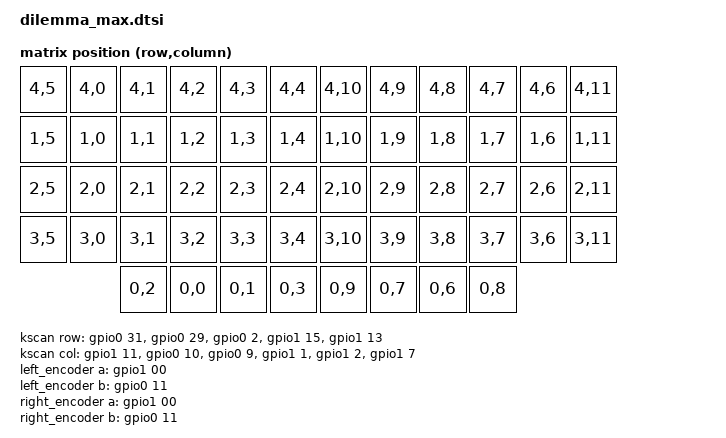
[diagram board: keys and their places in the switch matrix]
// Dilemma Max - Custom PCB for nice!nano v2
// 5 rows x 6 columns per side, row2col diodes
// Encoder on thumb row (row 4, col 3)

#include <dt-bindings/zmk/matrix_transform.h>
#include <dt-bindings/led/led.h>
#include <dt-bindings/pinctrl/nrf-pinctrl.h>

#include "dilemma_max-layouts.dtsi"

/ {
    chosen {
        zmk,physical-layout = &default_layout;
        zmk,underglow = &led_strip;
    };

    kscan: kscan {
        compatible = "zmk,kscan-gpio-matrix";
        diode-direction = "row2col";
        wakeup-source;

        row-gpios
            = <&gpio0 31 GPIO_ACTIVE_HIGH>   // row 1 = thumb     | Matrix row 0
            , <&gpio0 29 GPIO_ACTIVE_HIGH>   // row 2 = botton main | Matrix row 1
            , <&gpio0 2 GPIO_ACTIVE_HIGH>    // row 3             | Matrix row 2
            , <&gpio1 15 GPIO_ACTIVE_HIGH>   // row 4             | Matrix row 3
            , <&gpio1 13 GPIO_ACTIVE_HIGH>   // row 5 = top       | Matrix row 4
            ;

        col-gpios
            = <&gpio1 11 (GPIO_ACTIVE_HIGH | GPIO_PULL_DOWN)>  // col 1 = leftmost  - P1.07 middle pad
            , <&gpio0 10 (GPIO_ACTIVE_HIGH | GPIO_PULL_DOWN)>  // col 2             - P1.02 middle pad
            , <&gpio0 9  (GPIO_ACTIVE_HIGH | GPIO_PULL_DOWN)>  // col 3             - P1.01 middle pad
            , <&gpio1 1  (GPIO_ACTIVE_HIGH | GPIO_PULL_DOWN)>  // col 4
            , <&gpio1 2  (GPIO_ACTIVE_HIGH | GPIO_PULL_DOWN)>  // col 5
            , <&gpio1 7  (GPIO_ACTIVE_HIGH | GPIO_PULL_DOWN)>  // col 6 = rightmost
            ;
    };

    default_transform: default_transform {
        compatible = "zmk,matrix-transform";
        columns = <12>;
        rows = <5>;

        // Left side: cols 0-5, Right side: cols 6-11
        // Row 0 = top, Row 1-2 = middle, Row 3 = bottom main, Row 4 = thumb cluster
        map = <
            RC(4,5) RC(4,0) RC(4,1) RC(4,2) RC(4,3) RC(4,4)    RC(4,10) RC(4,9) RC(4,8) RC(4,7) RC(4,6) RC(4,11)  // top
            RC(1,5) RC(1,0) RC(1,1) RC(1,2) RC(1,3) RC(1,4)    RC(1,10) RC(1,9) RC(1,8) RC(1,7) RC(1,6) RC(1,11)
            RC(2,5) RC(2,0) RC(2,1) RC(2,2) RC(2,3) RC(2,4)    RC(2,10) RC(2,9) RC(2,8) RC(2,7) RC(2,6) RC(2,11)
            RC(3,5) RC(3,0) RC(3,1) RC(3,2) RC(3,3) RC(3,4)    RC(3,10) RC(3,9) RC(3,8) RC(3,7) RC(3,6) RC(3,11)  // bottom main
                            RC(0,2) RC(0,0) RC(0,1) RC(0,3)    RC(0,9) RC(0,7) RC(0,6) RC(0,8)                             // thumb
        >;
    };

    left_encoder: left_encoder {
        compatible = "alps,ec11";
        a-gpios = <&gpio1 00 (GPIO_ACTIVE_HIGH | GPIO_PULL_UP)>;
        b-gpios = <&gpio0 11 (GPIO_ACTIVE_HIGH | GPIO_PULL_UP)>;
        steps = <80>;
        status = "disabled";
    };

    right_encoder: right_encoder {
        compatible = "alps,ec11";
        a-gpios = <&gpio1 00 (GPIO_ACTIVE_HIGH | GPIO_PULL_UP)>;
        b-gpios = <&gpio0 11 (GPIO_ACTIVE_HIGH | GPIO_PULL_UP)>;
        steps = <80>;
        status = "disabled";
    };

    sensors: sensors {
        compatible = "zmk,keymap-sensors";
        sensors = <&left_encoder &right_encoder>;
        triggers-per-rotation = <20>;
    };
};

// WS2812/SK6805 LED-Strip via SPIM3 (MOSI = P1.04)
&pinctrl {
    spi3_default: spi3_default {
        group1 {
            psels = <NRF_PSEL(SPIM_MOSI, 1, 4)>;
        };
    };
    spi3_sleep: spi3_sleep {
        group1 {
            psels = <NRF_PSEL(SPIM_MOSI, 1, 4)>;
            low-power-enable;
        };
    };
};

&spi3 {
    compatible = "nordic,nrf-spim";
    status = "okay";
    pinctrl-0 = <&spi3_default>;
    pinctrl-1 = <&spi3_sleep>;
    pinctrl-names = "default", "sleep";

    led_strip: ws2812@0 {
        compatible = "worldsemi,ws2812-spi";
        reg = <0>;
        spi-max-frequency = <4000000>;
        chain-length = <51>;
        spi-one-frame = <0x70>;
        spi-zero-frame = <0x40>;
        color-mapping = <LED_COLOR_ID_GREEN LED_COLOR_ID_RED LED_COLOR_ID_BLUE>;
    };
};

